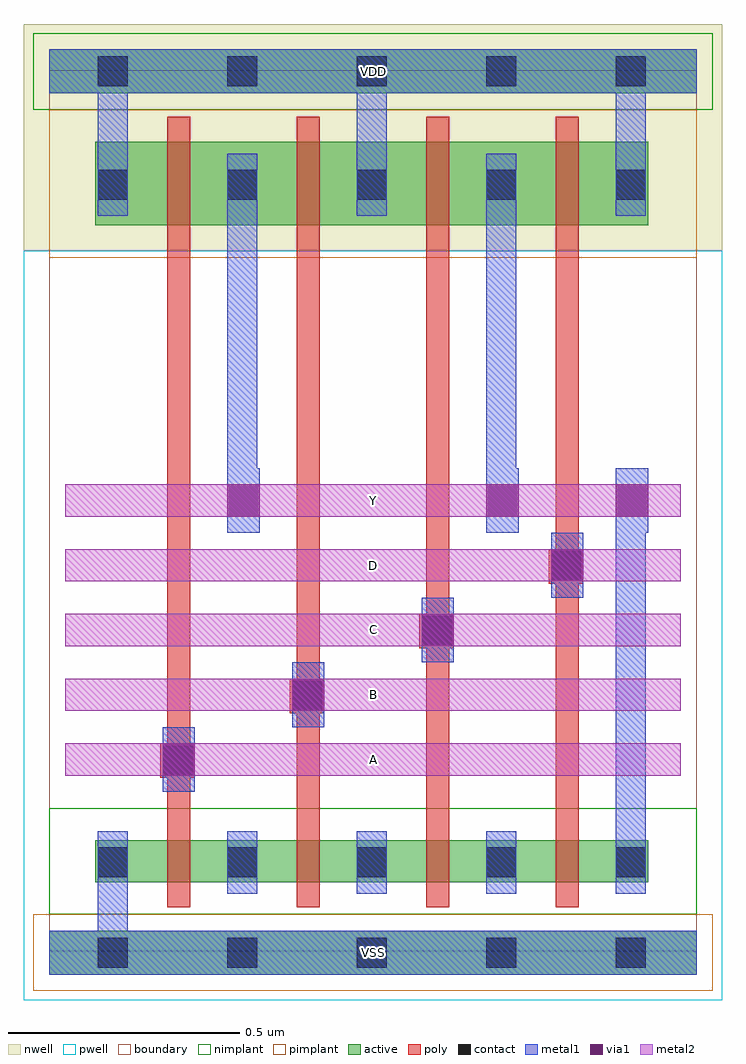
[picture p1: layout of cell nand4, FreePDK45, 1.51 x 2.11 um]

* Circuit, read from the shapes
.subckt nand4 A B C D VDD VSS Y
M1 n1 A VSS VSS nfet w=0.09u l=0.05u
M2 n2 B n1 VSS nfet w=0.09u l=0.05u
M3 n3 C n2 VSS nfet w=0.09u l=0.05u
M4 Y D n3 VSS nfet w=0.09u l=0.05u
M5 Y A VDD VDD pfet w=0.18u l=0.05u
M6 VDD B Y VDD pfet w=0.18u l=0.05u
M7 Y C VDD VDD pfet w=0.18u l=0.05u
M8 VDD D Y VDD pfet w=0.18u l=0.05u
.ends

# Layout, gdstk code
import gdstk
lib = gdstk.Library(unit=1e-6, precision=5e-10)
def R(c, l, rs):  # rectangles x0, y0, x1, y1
    for r in rs: c.add(gdstk.rectangle(r[:2], r[2:], *l))
def A(c, l, x, y, w, h, nx, ny, dx, dy):  # array of equal rectangles
    R(c, l, [(x+i*dx, y+j*dy, x+i*dx+w, y+j*dy+h) for i in range(nx) for j in range(ny)])
active = (1, 0)
pwell = (2, 0)
nwell = (3, 0)
nimplant = (4, 0)
pimplant = (5, 0)
poly = (9, 0)
contact = (10, 0)
metal1 = (11, 0)
via1 = (12, 0)
metal2 = (13, 0)
boundary = (235, 0)

nand4 = lib.new_cell('nand4')
R(nand4, active, [(0,-0.05,1.4,0.045), (0.1,0.15,1.295,0.24), (0.1,1.57,1.295,1.75), (0,1.855,1.4,1.95)])
R(nand4, pwell, [(-0.055,-0.105,1.455,1.515)])
R(nand4, nwell, [(-0.055,1.515,1.455,2.005)])
R(nand4, nimplant, [(0,0.08,1.4,0.31), (-0.035,1.82,1.435,1.985)])
R(nand4, pimplant, [(-0.035,-0.085,1.435,0.08), (0,1.5,1.4,1.82)])
A(nand4, poly, 0.255, 0.095, 0.05, 0.2, 4, 1, 0.28, 0)
A(nand4, poly, 0.255, 0.295, 0.05, 1.22, 4, 1, 0.28, 0)
A(nand4, poly, 0.255, 1.515, 0.05, 0.29, 4, 1, 0.28, 0)
R(nand4, poly, [(0.24,0.375,0.315,0.45), (0.52,0.515,0.595,0.59), (0.8,0.655,0.875,0.73), (1.08,0.795,1.155,0.87)])
A(nand4, contact, 0.105, -0.035, 0.065, 0.065, 5, 2, 0.28, 0.195)
A(nand4, contact, 0.105, 1.625, 0.065, 0.065, 5, 2, 0.28, 0.245)
R(nand4, contact, [(0.245,0.38,0.31,0.445), (0.525,0.52,0.59,0.585), (0.805,0.66,0.87,0.725), (1.085,0.8,1.15,0.865)])
A(nand4, metal1, 0.105, 0.125, 0.065, 0.135, 5, 2, 0.28, 1.465)
A(nand4, metal1, 0.105, 1.725, 0.065, 0.18, 3, 1, 0.56, 0)
R(nand4, metal1, [(0,-0.05,1.4,0.045), (0.105,0,0.17,0.125), (1.225,0.26,1.29,0.975), (0.245,0.345,0.315,0.485), (0.525,0.485,0.595,0.625), (0.805,0.625,0.875,0.765), (1.085,0.765,1.155,0.905), (0.385,0.905,0.455,1.045), (0.945,0.905,1.015,1.045), (1.225,0.905,1.295,1.045), (0.385,0.975,0.45,1.59), (0.945,0.975,1.01,1.59), (0,1.855,1.4,1.95)])
R(nand4, via1, [(0.245,0.38,0.315,0.45), (0.525,0.52,0.595,0.59), (0.805,0.66,0.875,0.73), (1.085,0.8,1.155,0.87), (0.385,0.94,0.455,1.01), (0.945,0.94,1.015,1.01), (1.225,0.94,1.295,1.01)])
A(nand4, metal2, 0.035, 0.38, 1.33, 0.07, 1, 5, 0, 0.14)
R(nand4, metal2, [(0.21,0.38,0.35,0.45), (0.49,0.52,0.63,0.59), (0.77,0.66,0.91,0.73), (1.05,0.8,1.19,0.87), (0.35,0.94,0.49,1.01), (0.91,0.94,1.05,1.01), (1.19,0.94,1.33,1.01)])
R(nand4, boundary, [(0,0,1.4,1.905)])
nand4.add(gdstk.Label('Y', (0.7,0.975), layer=13, texttype=1))
nand4.add(gdstk.Label('A', (0.7,0.415), layer=13, texttype=1))
nand4.add(gdstk.Label('B', (0.7,0.555), layer=13, texttype=1))
nand4.add(gdstk.Label('C', (0.7,0.695), layer=13, texttype=1))
nand4.add(gdstk.Label('D', (0.7,0.835), layer=13, texttype=1))
nand4.add(gdstk.Label('VSS', (0.7,-0.003), layer=11, texttype=1))
nand4.add(gdstk.Label('VDD', (0.7,1.902), layer=11, texttype=1))

lib.write_gds('nand4.gds')
